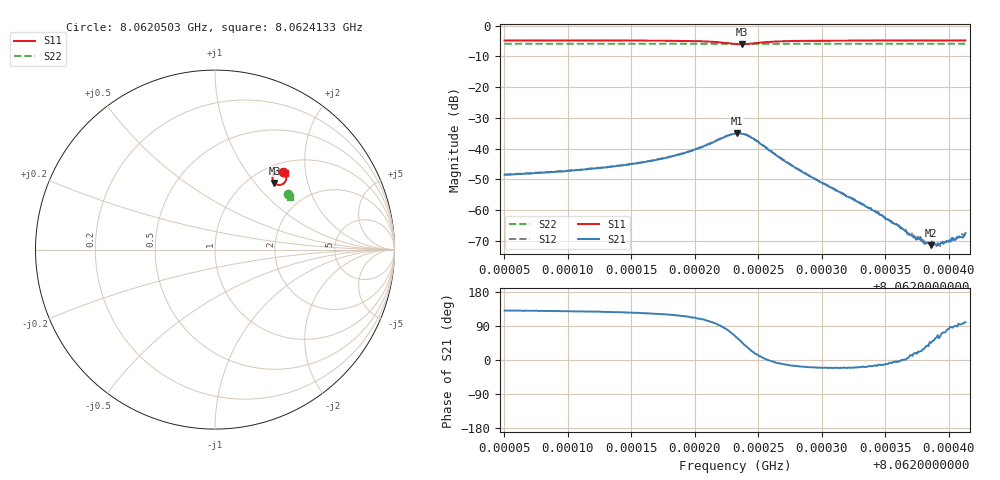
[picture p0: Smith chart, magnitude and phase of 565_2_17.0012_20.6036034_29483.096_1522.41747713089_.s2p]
#  HZ  S  RI  R  50.00
! Rohde & Schwarz Vector Network Analyzer
! Rohde-Schwarz,ZNB20-2Port,1311601062101988,3.16
! Created: UTC 3/20/2024, 11:17:22 PM
! freq[Hz]  re:S11  im:S11  re:S21  im:S21  re:S12  im:S12  re:S22  im:S22
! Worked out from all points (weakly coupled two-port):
!   401 points, 8.0620503 GHz to 8.0624133 GHz, reference 50 ohm
!   highest |S21| = -35.02 dB at 8.0622336 GHz (marker M1); lowest = -71.5 dB at 8.0623861 GHz (marker M2)
!   lowest |S11| = -6.1 dB at 8.0622372 GHz (marker M3), VSWR 2.98, Z = 64.3 + j63.5 ohm
!   |S11| at or under -10 dB: nowhere
!   |S22| runs from -5.9 to -5.9 dB; largest |S21 - S12| = 0.0013
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8.06205032e9  0.3804 0.4325  -0.00242 0.00285  -0.00227 0.00304  0.4044 0.3085
8.06211112e9  0.3861 0.4267  -0.0028 0.00357  -0.00256 0.00376  0.4068 0.3055
8.06214288e9  0.3896 0.4219  -0.00312 0.00431  -0.00286 0.00457  0.4079 0.3036
8.06217191e9  0.3938 0.4147  -0.0035 0.0057  -0.0032 0.00595  0.409 0.3018
8.06219641e9  0.397 0.4018  -0.00359 0.00829  -0.00314 0.00857  0.4096 0.3001
8.06221819e9  0.3891 0.375  -0.000899 0.0137  -9.51e-05 0.0139  0.4097 0.298
8.0622318e9  0.3513 0.3609  0.00792 0.0156  0.00889 0.0154  0.4083 0.2972
8.06223362e9  0.3442 0.363  0.00941 0.015  0.0104 0.0145  0.4081 0.2974
8.06223725e9  0.3312 0.3715  0.012 0.0127  0.0128 0.0121  0.4076 0.2979
8.06224632e9  0.3209 0.4046  0.0136 0.00517  0.014 0.00438  0.408 0.2991
8.06226901e9  0.35 0.4357  0.0065 -0.00118  0.00659 -0.00161  0.4106 0.2987
8.0622926e9  0.3664 0.436  0.00319 -0.00112  0.00314 -0.00134  0.4121 0.2975
8.06234341e9  0.3799 0.431  0.000883 -0.000255  0.000871 -0.00025  0.4142 0.2947
8.06235339e9  0.3816 0.43  0.000679 -8.96e-05  0.000653 -0.000156  0.4146 0.294
8.06237336e9  0.3842 0.4284  0.000355 0.000112  0.000389 7.7e-05  0.4153 0.293
8.06237789e9  0.3847 0.428  0.000333 0.000144  0.000303 9.75e-05  0.4155 0.2928
8.06238062e9  0.385 0.4278  0.000252 0.000139  0.000255 0.000178  0.4156 0.2926
8.06238606e9  0.3856 0.4275  0.000187 0.000189  0.000217 0.000189  0.4157 0.2923
8.06239241e9  0.3863 0.4269  0.000148 0.000236  0.000138 0.000237  0.416 0.2921
8.06239695e9  0.3867 0.4266  9.04e-05 0.000286  9.89e-05 0.00028  0.4162 0.2917
8.06240058e9  0.3871 0.4262  3.56e-05 0.000315  5.77e-05 0.000316  0.4164 0.2914
8.06241328e9  0.3883 0.4254  -7.07e-05 0.000414  -1.54e-05 0.000402  0.4169 0.2908
